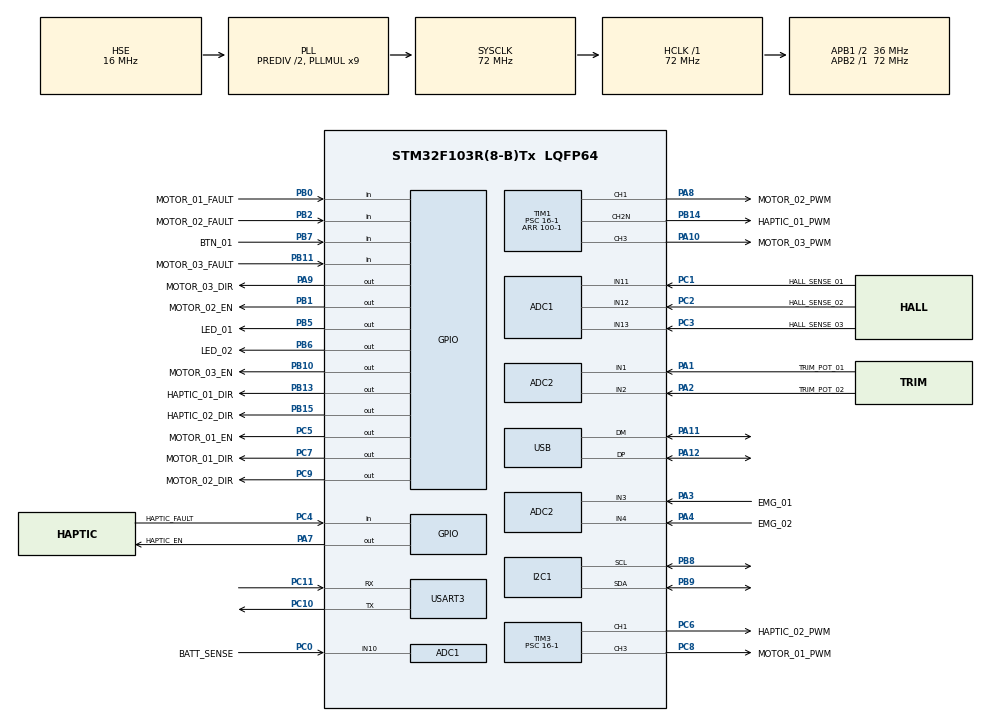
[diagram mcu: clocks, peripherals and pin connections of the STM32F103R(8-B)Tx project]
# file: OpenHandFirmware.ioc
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ADC1.Channel-0\#ChannelRegularConversion=ADC_CHANNEL_11
ADC1.NbrOfConversionFlag=1
ADC1.Rank-0\#ChannelRegularConversion=1
ADC1.SamplingTime-0\#ChannelRegularConversion=ADC_SAMPLETIME_1CYCLE_5
ADC1.master=1
ADC2.Channel-0\#ChannelRegularConversion=ADC_CHANNEL_1
ADC2.NbrOfConversionFlag=1
ADC2.Rank-0\#ChannelRegularConversion=1
ADC2.SamplingTime-0\#ChannelRegularConversion=ADC_SAMPLETIME_1CYCLE_5
Mcu.Family=STM32F1
Mcu.Name=STM32F103R(8-B)Tx
Mcu.Package=LQFP64
NVIC.PriorityGroup=NVIC_PRIORITYGROUP_4
NVIC.USB_LP_CAN1_RX0_IRQn=true\:0\:0\:false\:false\:true\:false\:true\:true
PA1.GPIO_Label=TRIM_POT_01
PA1.Signal=ADCx_IN1
PA10.GPIO_Label=MOTOR_03_PWM
PA10.Signal=S_TIM1_CH3
PA11.Mode=Device
PA11.Signal=USB_DM
PA12.Mode=Device
PA12.Signal=USB_DP
PA13.Mode=Serial_Wire
PA13.Signal=SYS_JTMS-SWDIO
PA14.Mode=Serial_Wire
PA14.Signal=SYS_JTCK-SWCLK
PA2.GPIO_Label=TRIM_POT_02
PA2.Signal=ADCx_IN2
PA3.GPIO_Label=EMG_01
PA3.Signal=ADCx_IN3
PA4.GPIO_Label=EMG_02
PA4.Signal=ADCx_IN4
PA7.GPIO_Label=HAPTIC_EN
PA7.PinState=GPIO_PIN_SET
PA7.Signal=GPIO_Output
PA8.GPIO_Label=MOTOR_02_PWM
PA8.Signal=S_TIM1_CH1
PA9.GPIO_Label=MOTOR_03_DIR
PA9.Signal=GPIO_Output
PB0.GPIO_Label=MOTOR_01_FAULT
PB0.Signal=GPIO_Input
PB1.GPIO_Label=MOTOR_02_EN
PB1.PinState=GPIO_PIN_SET
PB1.Signal=GPIO_Output
PB10.GPIO_Label=MOTOR_03_EN
PB10.PinState=GPIO_PIN_SET
PB10.Signal=GPIO_Output
PB11.GPIO_Label=MOTOR_03_FAULT
PB11.Signal=GPIO_Input
PB13.GPIO_Label=HAPTIC_01_DIR
PB13.Signal=GPIO_Output
PB14.GPIO_Label=HAPTIC_01_PWM
PB14.Mode=PWM Generation2 CH2N
PB14.Signal=TIM1_CH2N
PB15.GPIO_Label=HAPTIC_02_DIR
PB15.Signal=GPIO_Output
PB2.GPIO_Label=MOTOR_02_FAULT
PB2.Signal=GPIO_Input
PB5.GPIO_Label=LED_01
PB5.Signal=GPIO_Output
PB6.GPIO_Label=LED_02
PB6.Signal=GPIO_Output
PB7.GPIO_Label=BTN_01
PB7.Signal=GPIO_Input
PB8.Mode=I2C
PB8.Signal=I2C1_SCL
PB9.Mode=I2C
PB9.Signal=I2C1_SDA
PC0.GPIO_Label=BATT_SENSE
PC0.Signal=ADCx_IN10
PC1.GPIO_Label=HALL_SENSE_01
PC1.Signal=ADCx_IN11
PC10.Mode=Asynchronous
PC10.Signal=USART3_TX
PC11.Mode=Asynchronous
PC11.Signal=USART3_RX
PC2.GPIO_Label=HALL_SENSE_02
PC2.Signal=ADCx_IN12
PC3.GPIO_Label=HALL_SENSE_03
PC3.Signal=ADCx_IN13
PC4.GPIO_Label=HAPTIC_FAULT
PC4.Signal=GPIO_Input
PC5.GPIO_Label=MOTOR_01_EN
PC5.PinState=GPIO_PIN_SET
PC5.Signal=GPIO_Output
PC6.GPIO_Label=HAPTIC_02_PWM
PC6.Signal=S_TIM3_CH1
PC7.GPIO_Label=MOTOR_01_DIR
PC7.Signal=GPIO_Output
PC8.GPIO_Label=MOTOR_01_PWM
PC8.Signal=S_TIM3_CH3
PC9.GPIO_Label=MOTOR_02_DIR
PC9.Signal=GPIO_Output
PD0-OSC_IN.Mode=HSE-External-Oscillator
PD0-OSC_IN.Signal=RCC_OSC_IN
PD1-OSC_OUT.Mode=HSE-External-Oscillator
PD1-OSC_OUT.Signal=RCC_OSC_OUT
ProjectManager.HeapSize=0x200
ProjectManager.StackSize=0x400
ProjectManager.TargetToolchain=STM32CubeIDE
RCC.ADCPresc=RCC_ADCPCLK2_DIV6
RCC.AHBFreq_Value=72000000
RCC.APB1CLKDivider=RCC_HCLK_DIV2
RCC.APB1Freq_Value=36000000
RCC.APB1TimFreq_Value=72000000
RCC.APB2Freq_Value=72000000
RCC.APB2TimFreq_Value=72000000
RCC.HCLKFreq_Value=72000000
RCC.HSEDivPLL=RCC_HSE_PREDIV_DIV2
RCC.HSE_VALUE=16000000
RCC.PLLMUL=RCC_PLL_MUL9
RCC.PLLSourceVirtual=RCC_PLLSOURCE_HSE
RCC.SYSCLKFreq_VALUE=72000000
RCC.SYSCLKSource=RCC_SYSCLKSOURCE_PLLCLK
RCC.USBFreq_Value=48000000
RCC.USBPrescaler=RCC_USBCLKSOURCE_PLL_DIV1_5
SH.ADCx_IN1.0=ADC2_IN1,IN1
SH.ADCx_IN10.0=ADC1_IN10,IN10
SH.ADCx_IN11.0=ADC1_IN11,IN11
SH.ADCx_IN12.0=ADC1_IN12,IN12
SH.ADCx_IN13.0=ADC1_IN13,IN13
SH.ADCx_IN2.0=ADC2_IN2,IN2
SH.ADCx_IN3.0=ADC2_IN3,IN3
SH.ADCx_IN4.0=ADC2_IN4,IN4
SH.S_TIM1_CH1.0=TIM1_CH1,PWM Generation1 CH1
SH.S_TIM1_CH3.0=TIM1_CH3,PWM Generation3 CH3
SH.S_TIM3_CH1.0=TIM3_CH1,PWM Generation1 CH1
SH.S_TIM3_CH3.0=TIM3_CH3,PWM Generation3 CH3
TIM1.AutomaticOutput=TIM_AUTOMATICOUTPUT_DISABLE
TIM1.Channel-PWM\ Generation1\ CH1=TIM_CHANNEL_1
TIM1.Channel-PWM\ Generation2\ CH2N=TIM_CHANNEL_2
TIM1.Channel-PWM\ Generation3\ CH3=TIM_CHANNEL_3
TIM1.Period=100-1
TIM1.Prescaler=16-1
TIM3.Channel-PWM\ Generation1\ CH1=TIM_CHANNEL_1
TIM3.Channel-PWM\ Generation3\ CH3=TIM_CHANNEL_3
TIM3.Period=100-1
TIM3.Prescaler=16-1
USART3.VirtualMode=VM_ASYNC
USB_DEVICE.CLASS_NAME_FS=CDC
USB_DEVICE.VirtualMode=Cdc
USB_DEVICE.VirtualModeFS=Cdc_FS
VP_USB_DEVICE_VS_USB_DEVICE_CDC_FS.Mode=CDC_FS
board=custom

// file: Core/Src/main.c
/* USER CODE BEGIN Header */
/**
  ******************************************************************************
  * @file           : main.c
  * @brief          : Main program body
  ******************************************************************************
  * @attention
  *
  * Copyright (c) 2024 STMicroelectronics.
  * All rights reserved.
  *
  * This software is licensed under terms that can be found in the LICENSE file
  * in the root directory of this software component.
  * If no LICENSE file comes with this software, it is provided AS-IS.
  *
  ******************************************************************************
  */
/* USER CODE END Header */
#include "main.h"
#include "usb_device.h"

ADC_HandleTypeDef hadc1;
ADC_HandleTypeDef hadc2;

I2C_HandleTypeDef hi2c1;

TIM_HandleTypeDef htim1;
TIM_HandleTypeDef htim3;

UART_HandleTypeDef huart3;

void SystemClock_Config(void);
static void MX_GPIO_Init(void);
static void MX_I2C1_Init(void);
static void MX_ADC1_Init(void);
static void MX_ADC2_Init(void);
static void MX_USART3_UART_Init(void);
static void MX_TIM1_Init(void);
static void MX_TIM3_Init(void);

int main(void)
{
  /* USER CODE BEGIN 1 */
  uint16_t my_pot = 0;
  double my_pwm = 50;
  GPIO_PinState my_button = 0;
  uint32_t my_led_last_time = 0;
  /* USER CODE END 1 */

  /* MCU Configuration--------------------------------------------------------*/

  /* Reset of all peripherals, Initializes the Flash interface and the Systick. */
  HAL_Init();

  /* Configure the system clock */
  SystemClock_Config();

  /* Initialize all configured peripherals */
  MX_GPIO_Init();
  MX_USB_DEVICE_Init();
  MX_I2C1_Init();
  MX_ADC1_Init();
  MX_ADC2_Init();
  MX_USART3_UART_Init();
  MX_TIM1_Init();
  MX_TIM3_Init();
  /* USER CODE BEGIN 2 */
  /* Start all PWM channels */
  HAL_TIM_PWM_Start(&htim1, TIM_CHANNEL_1);
  HAL_TIM_PWM_Start(&htim1, TIM_CHANNEL_2);
  HAL_TIM_PWM_Start(&htim1, TIM_CHANNEL_3);
  HAL_TIM_PWM_Start(&htim3, TIM_CHANNEL_1);
  HAL_TIM_PWM_Start(&htim3, TIM_CHANNEL_3);
  /* USER CODE END 2 */

  /* Infinite loop */
  while (1)
  {

    /* USER CODE BEGIN 3 */

	/* Blink the status LED */
	if(HAL_GetTick() - my_led_last_time > 500)
	{
	  HAL_GPIO_TogglePin(GPIOB, GPIO_PIN_6);
	  // HAL_Delay(500);
	  my_led_last_time = HAL_GetTick();
	}

	/* All the motors are ENABLED by default (configured HIGH by default) */

	/* Get pot value */
    HAL_ADC_Start(&hadc2);
    HAL_ADC_PollForConversion(&hadc2, HAL_MAX_DELAY);
    my_pot = HAL_ADC_GetValue(&hadc2);

	/* Get button value */
	my_button = HAL_GPIO_ReadPin(GPIOB, GPIO_PIN_7);

	/* Set DIR for all motors to given value (from button) */
	/* And PWM for all motors to given value (from potentiometer) */
	if (my_button == GPIO_PIN_RESET)
	{
		HAL_GPIO_WritePin(GPIOA, GPIO_PIN_9, GPIO_PIN_SET);
		HAL_GPIO_WritePin(GPIOB, GPIO_PIN_13, GPIO_PIN_SET);
		HAL_GPIO_WritePin(GPIOB, GPIO_PIN_15, GPIO_PIN_SET);
		HAL_GPIO_WritePin(GPIOC, GPIO_PIN_7, GPIO_PIN_SET);
		HAL_GPIO_WritePin(GPIOC, GPIO_PIN_9, GPIO_PIN_SET);

		my_pwm = (double)my_pot / 40.96;
		TIM1->CCR1 = (uint16_t)my_pwm;
		TIM1->CCR2 = (uint16_t)my_pwm;
		TIM1->CCR3 = (uint16_t)my_pwm;
		TIM3->CCR1 = (uint16_t)my_pwm;
		TIM3->CCR3 = (uint16_t)my_pwm;
	}
	else
	{
		HAL_GPIO_WritePin(GPIOA, GPIO_PIN_9, GPIO_PIN_RESET);
		HAL_GPIO_WritePin(GPIOB, GPIO_PIN_13, GPIO_PIN_RESET);
		HAL_GPIO_WritePin(GPIOB, GPIO_PIN_15, GPIO_PIN_RESET);
		HAL_GPIO_WritePin(GPIOC, GPIO_PIN_7, GPIO_PIN_RESET);
		HAL_GPIO_WritePin(GPIOC, GPIO_PIN_9, GPIO_PIN_RESET);

		my_pwm = 100.0 - (double)my_pot / 40.96;
		TIM1->CCR1 = (uint16_t)my_pwm;
		TIM1->CCR2 = (uint16_t)my_pwm;
		TIM1->CCR3 = (uint16_t)my_pwm;
		TIM3->CCR1 = (uint16_t)my_pwm;
		TIM3->CCR3 = (uint16_t)my_pwm;
	}
  }
  /* USER CODE END 3 */
}

void SystemClock_Config(void)
{
  RCC_OscInitTypeDef RCC_OscInitStruct = {0};
  RCC_ClkInitTypeDef RCC_ClkInitStruct = {0};
  RCC_PeriphCLKInitTypeDef PeriphClkInit = {0};

  /** Initializes the RCC Oscillators according to the specified parameters
  * in the RCC_OscInitTypeDef structure.
  */
  RCC_OscInitStruct.OscillatorType = RCC_OSCILLATORTYPE_HSE;
  RCC_OscInitStruct.HSEState = RCC_HSE_ON;
  RCC_OscInitStruct.HSEPredivValue = RCC_HSE_PREDIV_DIV2;
  RCC_OscInitStruct.HSIState = RCC_HSI_ON;
  RCC_OscInitStruct.PLL.PLLState = RCC_PLL_ON;
  RCC_OscInitStruct.PLL.PLLSource = RCC_PLLSOURCE_HSE;
  RCC_OscInitStruct.PLL.PLLMUL = RCC_PLL_MUL9;
  if (HAL_RCC_OscConfig(&RCC_OscInitStruct) != HAL_OK)
  {
    Error_Handler();
  }

  /** Initializes the CPU, AHB and APB buses clocks
  */
  RCC_ClkInitStruct.ClockType = RCC_CLOCKTYPE_HCLK|RCC_CLOCKTYPE_SYSCLK
                              |RCC_CLOCKTYPE_PCLK1|RCC_CLOCKTYPE_PCLK2;
  RCC_ClkInitStruct.SYSCLKSource = RCC_SYSCLKSOURCE_PLLCLK;
  RCC_ClkInitStruct.AHBCLKDivider = RCC_SYSCLK_DIV1;
  RCC_ClkInitStruct.APB1CLKDivider = RCC_HCLK_DIV2;
  RCC_ClkInitStruct.APB2CLKDivider = RCC_HCLK_DIV1;

  if (HAL_RCC_ClockConfig(&RCC_ClkInitStruct, FLASH_LATENCY_2) != HAL_OK)
  {
    Error_Handler();
  }
  PeriphClkInit.PeriphClockSelection = RCC_PERIPHCLK_ADC|RCC_PERIPHCLK_USB;
  PeriphClkInit.AdcClockSelection = RCC_ADCPCLK2_DIV6;
  PeriphClkInit.UsbClockSelection = RCC_USBCLKSOURCE_PLL_DIV1_5;
  if (HAL_RCCEx_PeriphCLKConfig(&PeriphClkInit) != HAL_OK)
  {
    Error_Handler();
  }
}

static void MX_ADC1_Init(void)
{

  ADC_ChannelConfTypeDef sConfig = {0};

  /** Common config
  */
  hadc1.Instance = ADC1;
  hadc1.Init.ScanConvMode = ADC_SCAN_DISABLE;
  hadc1.Init.ContinuousConvMode = DISABLE;
  hadc1.Init.DiscontinuousConvMode = DISABLE;
  hadc1.Init.ExternalTrigConv = ADC_SOFTWARE_START;
  hadc1.Init.DataAlign = ADC_DATAALIGN_RIGHT;
  hadc1.Init.NbrOfConversion = 1;
  if (HAL_ADC_Init(&hadc1) != HAL_OK)
  {
    Error_Handler();
  }

  /** Configure Regular Channel
  */
  sConfig.Channel = ADC_CHANNEL_11;
  sConfig.Rank = ADC_REGULAR_RANK_1;
  sConfig.SamplingTime = ADC_SAMPLETIME_1CYCLE_5;
  if (HAL_ADC_ConfigChannel(&hadc1, &sConfig) != HAL_OK)
  {
    Error_Handler();
  }

}

static void MX_ADC2_Init(void)
{

  ADC_ChannelConfTypeDef sConfig = {0};

  /** Common config
  */
  hadc2.Instance = ADC2;
  hadc2.Init.ScanConvMode = ADC_SCAN_DISABLE;
  hadc2.Init.ContinuousConvMode = DISABLE;
  hadc2.Init.DiscontinuousConvMode = DISABLE;
  hadc2.Init.ExternalTrigConv = ADC_SOFTWARE_START;
  hadc2.Init.DataAlign = ADC_DATAALIGN_RIGHT;
  hadc2.Init.NbrOfConversion = 1;
  if (HAL_ADC_Init(&hadc2) != HAL_OK)
  {
    Error_Handler();
  }

  /** Configure Regular Channel
  */
  sConfig.Channel = ADC_CHANNEL_1;
  sConfig.Rank = ADC_REGULAR_RANK_1;
  sConfig.SamplingTime = ADC_SAMPLETIME_1CYCLE_5;
  if (HAL_ADC_ConfigChannel(&hadc2, &sConfig) != HAL_OK)
  {
    Error_Handler();
  }

}

static void MX_I2C1_Init(void)
{

  hi2c1.Instance = I2C1;
  hi2c1.Init.ClockSpeed = 100000;
  hi2c1.Init.DutyCycle = I2C_DUTYCYCLE_2;
  hi2c1.Init.OwnAddress1 = 0;
  hi2c1.Init.AddressingMode = I2C_ADDRESSINGMODE_7BIT;
  hi2c1.Init.DualAddressMode = I2C_DUALADDRESS_DISABLE;
  hi2c1.Init.OwnAddress2 = 0;
  hi2c1.Init.GeneralCallMode = I2C_GENERALCALL_DISABLE;
  hi2c1.Init.NoStretchMode = I2C_NOSTRETCH_DISABLE;
  if (HAL_I2C_Init(&hi2c1) != HAL_OK)
  {
    Error_Handler();
  }

}

static void MX_TIM1_Init(void)
{

  TIM_MasterConfigTypeDef sMasterConfig = {0};
  TIM_OC_InitTypeDef sConfigOC = {0};
  TIM_BreakDeadTimeConfigTypeDef sBreakDeadTimeConfig = {0};

  htim1.Instance = TIM1;
  htim1.Init.Prescaler = 16-1;
  htim1.Init.CounterMode = TIM_COUNTERMODE_UP;
  htim1.Init.Period = 100-1;
  htim1.Init.ClockDivision = TIM_CLOCKDIVISION_DIV1;
  htim1.Init.RepetitionCounter = 0;
  htim1.Init.AutoReloadPreload = TIM_AUTORELOAD_PRELOAD_DISABLE;
  if (HAL_TIM_PWM_Init(&htim1) != HAL_OK)
  {
    Error_Handler();
  }
  sMasterConfig.MasterOutputTrigger = TIM_TRGO_RESET;
  sMasterConfig.MasterSlaveMode = TIM_MASTERSLAVEMODE_DISABLE;
  if (HAL_TIMEx_MasterConfigSynchronization(&htim1, &sMasterConfig) != HAL_OK)
  {
    Error_Handler();
  }
  sConfigOC.OCMode = TIM_OCMODE_PWM1;
  sConfigOC.Pulse = 0;
  sConfigOC.OCPolarity = TIM_OCPOLARITY_HIGH;
  sConfigOC.OCNPolarity = TIM_OCNPOLARITY_HIGH;
  sConfigOC.OCFastMode = TIM_OCFAST_DISABLE;
  sConfigOC.OCIdleState = TIM_OCIDLESTATE_RESET;
  sConfigOC.OCNIdleState = TIM_OCNIDLESTATE_RESET;
  if (HAL_TIM_PWM_ConfigChannel(&htim1, &sConfigOC, TIM_CHANNEL_1) != HAL_OK)
  {
    Error_Handler();
  }
  if (HAL_TIM_PWM_ConfigChannel(&htim1, &sConfigOC, TIM_CHANNEL_2) != HAL_OK)
  {
    Error_Handler();
  }
  if (HAL_TIM_PWM_ConfigChannel(&htim1, &sConfigOC, TIM_CHANNEL_3) != HAL_OK)
  {
    Error_Handler();
  }
  sBreakDeadTimeConfig.OffStateRunMode = TIM_OSSR_DISABLE;
  sBreakDeadTimeConfig.OffStateIDLEMode = TIM_OSSI_DISABLE;
  sBreakDeadTimeConfig.LockLevel = TIM_LOCKLEVEL_OFF;
  sBreakDeadTimeConfig.DeadTime = 0;
  sBreakDeadTimeConfig.BreakState = TIM_BREAK_DISABLE;
  sBreakDeadTimeConfig.BreakPolarity = TIM_BREAKPOLARITY_HIGH;
  sBreakDeadTimeConfig.AutomaticOutput = TIM_AUTOMATICOUTPUT_DISABLE;
  if (HAL_TIMEx_ConfigBreakDeadTime(&htim1, &sBreakDeadTimeConfig) != HAL_OK)
  {
    Error_Handler();
  }
  HAL_TIM_MspPostInit(&htim1);

}

static void MX_TIM3_Init(void)
{

  TIM_MasterConfigTypeDef sMasterConfig = {0};
  TIM_OC_InitTypeDef sConfigOC = {0};

  htim3.Instance = TIM3;
  htim3.Init.Prescaler = 16-1;
  htim3.Init.CounterMode = TIM_COUNTERMODE_UP;
  htim3.Init.Period = 100-1;
  htim3.Init.ClockDivision = TIM_CLOCKDIVISION_DIV1;
  htim3.Init.AutoReloadPreload = TIM_AUTORELOAD_PRELOAD_DISABLE;
  if (HAL_TIM_PWM_Init(&htim3) != HAL_OK)
  {
    Error_Handler();
  }
  sMasterConfig.MasterOutputTrigger = TIM_TRGO_RESET;
  sMasterConfig.MasterSlaveMode = TIM_MASTERSLAVEMODE_DISABLE;
  if (HAL_TIMEx_MasterConfigSynchronization(&htim3, &sMasterConfig) != HAL_OK)
  {
    Error_Handler();
  }
  sConfigOC.OCMode = TIM_OCMODE_PWM1;
  sConfigOC.Pulse = 0;
  sConfigOC.OCPolarity = TIM_OCPOLARITY_HIGH;
  sConfigOC.OCFastMode = TIM_OCFAST_DISABLE;
  if (HAL_TIM_PWM_ConfigChannel(&htim3, &sConfigOC, TIM_CHANNEL_1) != HAL_OK)
  {
    Error_Handler();
  }
  if (HAL_TIM_PWM_ConfigChannel(&htim3, &sConfigOC, TIM_CHANNEL_3) != HAL_OK)
  {
    Error_Handler();
  }
  HAL_TIM_MspPostInit(&htim3);

}

static void MX_USART3_UART_Init(void)
{

  huart3.Instance = USART3;
  huart3.Init.BaudRate = 115200;
  huart3.Init.WordLength = UART_WORDLENGTH_8B;
  huart3.Init.StopBits = UART_STOPBITS_1;
  huart3.Init.Parity = UART_PARITY_NONE;
  huart3.Init.Mode = UART_MODE_TX_RX;
  huart3.Init.HwFlowCtl = UART_HWCONTROL_NONE;
  huart3.Init.OverSampling = UART_OVERSAMPLING_16;
  if (HAL_UART_Init(&huart3) != HAL_OK)
  {
    Error_Handler();
  }

}

static void MX_GPIO_Init(void)
{
  GPIO_InitTypeDef GPIO_InitStruct = {0};

  /* GPIO Ports Clock Enable */
  __HAL_RCC_GPIOD_CLK_ENABLE();
  __HAL_RCC_GPIOC_CLK_ENABLE();
  __HAL_RCC_GPIOA_CLK_ENABLE();
  __HAL_RCC_GPIOB_CLK_ENABLE();

  /*Configure GPIO pin Output Level */
  HAL_GPIO_WritePin(HAPTIC_EN_GPIO_Port, HAPTIC_EN_Pin, GPIO_PIN_SET);

  /*Configure GPIO pin Output Level */
  HAL_GPIO_WritePin(MOTOR_01_EN_GPIO_Port, MOTOR_01_EN_Pin, GPIO_PIN_SET);

  /*Configure GPIO pin Output Level */
  HAL_GPIO_WritePin(GPIOB, MOTOR_02_EN_Pin|MOTOR_03_EN_Pin, GPIO_PIN_SET);

  /*Configure GPIO pin Output Level */
  HAL_GPIO_WritePin(GPIOB, HAPTIC_01_DIR_Pin|HAPTIC_02_DIR_Pin|LED_01_Pin|LED_02_Pin, GPIO_PIN_RESET);

  /*Configure GPIO pin Output Level */
  HAL_GPIO_WritePin(GPIOC, MOTOR_01_DIR_Pin|MOTOR_02_DIR_Pin, GPIO_PIN_RESET);

  /*Configure GPIO pin Output Level */
  HAL_GPIO_WritePin(MOTOR_03_DIR_GPIO_Port, MOTOR_03_DIR_Pin, GPIO_PIN_RESET);

  /*Configure GPIO pins : HAPTIC_EN_Pin MOTOR_03_DIR_Pin */
  GPIO_InitStruct.Pin = HAPTIC_EN_Pin|MOTOR_03_DIR_Pin;
  GPIO_InitStruct.Mode = GPIO_MODE_OUTPUT_PP;
  GPIO_InitStruct.Pull = GPIO_NOPULL;
  GPIO_InitStruct.Speed = GPIO_SPEED_FREQ_LOW;
  HAL_GPIO_Init(GPIOA, &GPIO_InitStruct);

  /*Configure GPIO pin : HAPTIC_FAULT_Pin */
  GPIO_InitStruct.Pin = HAPTIC_FAULT_Pin;
  GPIO_InitStruct.Mode = GPIO_MODE_INPUT;
  GPIO_InitStruct.Pull = GPIO_NOPULL;
  HAL_GPIO_Init(HAPTIC_FAULT_GPIO_Port, &GPIO_InitStruct);

  /*Configure GPIO pins : MOTOR_01_EN_Pin MOTOR_01_DIR_Pin MOTOR_02_DIR_Pin */
  GPIO_InitStruct.Pin = MOTOR_01_EN_Pin|MOTOR_01_DIR_Pin|MOTOR_02_DIR_Pin;
  GPIO_InitStruct.Mode = GPIO_MODE_OUTPUT_PP;
  GPIO_InitStruct.Pull = GPIO_NOPULL;
  GPIO_InitStruct.Speed = GPIO_SPEED_FREQ_LOW;
  HAL_GPIO_Init(GPIOC, &GPIO_InitStruct);

  /*Configure GPIO pins : MOTOR_01_FAULT_Pin MOTOR_02_FAULT_Pin MOTOR_03_FAULT_Pin BTN_01_Pin */
  GPIO_InitStruct.Pin = MOTOR_01_FAULT_Pin|MOTOR_02_FAULT_Pin|MOTOR_03_FAULT_Pin|BTN_01_Pin;
  GPIO_InitStruct.Mode = GPIO_MODE_INPUT;
  GPIO_InitStruct.Pull = GPIO_NOPULL;
  HAL_GPIO_Init(GPIOB, &GPIO_InitStruct);

  /*Configure GPIO pins : MOTOR_02_EN_Pin MOTOR_03_EN_Pin HAPTIC_01_DIR_Pin HAPTIC_02_DIR_Pin
                           LED_01_Pin LED_02_Pin */
  GPIO_InitStruct.Pin = MOTOR_02_EN_Pin|MOTOR_03_EN_Pin|HAPTIC_01_DIR_Pin|HAPTIC_02_DIR_Pin
                          |LED_01_Pin|LED_02_Pin;
  GPIO_InitStruct.Mode = GPIO_MODE_OUTPUT_PP;
  GPIO_InitStruct.Pull = GPIO_NOPULL;
  GPIO_InitStruct.Speed = GPIO_SPEED_FREQ_LOW;
  HAL_GPIO_Init(GPIOB, &GPIO_InitStruct);

}

void Error_Handler(void)
{
  __disable_irq();
  while (1)
  {
  }
}
